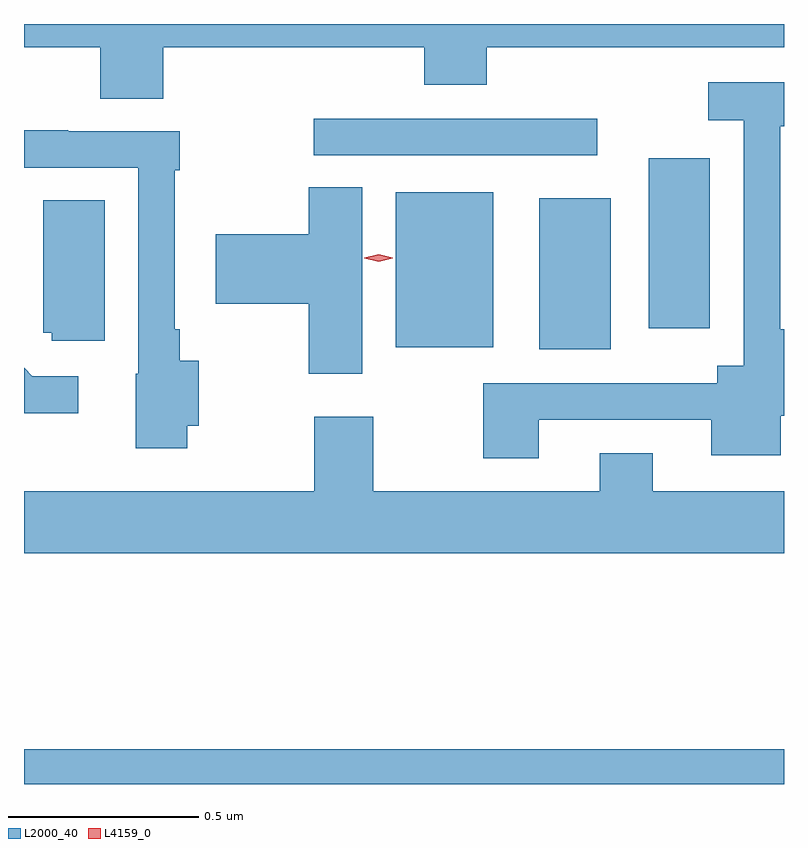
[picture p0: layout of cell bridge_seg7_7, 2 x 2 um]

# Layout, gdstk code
import gdstk
lib = gdstk.Library(unit=1e-6, precision=1e-09)
def R(c, l, rs):  # rectangles x0, y0, x1, y1
    for r in rs: c.add(gdstk.rectangle(r[:2], r[2:], *l))
def P(c, l, *ps):  # polygons
    for p in ps: c.add(gdstk.Polygon(p, *l))
L2000_40 = (2000, 40)
L4159_0 = (4159, 0)

bridge_seg7_7 = lib.new_cell('bridge_seg7_7')
R(bridge_seg7_7, L2000_40, [(1025.522,1075.933,1027.522,1076.024), (1026.878,1077.077,1027.066,1077.475), (1026.5,1077.083,1026.757,1077.49), (1027.166,1077.132,1027.327,1077.58), (1026.285,1077.588,1027.03,1077.684)])
P(bridge_seg7_7, L2000_40, [(1025.888,1077.872),(1026.575,1077.872),(1026.575,1077.773),(1026.74,1077.773),(1026.74,1077.872),(1027.522,1077.872),(1027.522,1077.933),(1025.522,1077.933),(1025.522,1077.872),(1025.723,1077.872),(1025.723,1077.736),(1025.888,1077.736)],
  [(1026.877,1076.892),(1027.331,1076.892),(1027.331,1076.798),(1027.513,1076.798),(1027.513,1076.902),(1027.522,1076.902),(1027.522,1077.13),(1027.512,1077.13),(1027.512,1077.664),(1027.522,1077.664),(1027.522,1077.78),(1027.323,1077.78),(1027.323,1077.68),(1027.416,1077.68),(1027.416,1077.034),(1027.346,1077.034),(1027.346,1076.988),(1026.73,1076.988),(1026.73,1076.79),(1026.877,1076.79)],
  [(1025.952,1076.876),(1025.982,1076.876),(1025.982,1077.047),(1025.932,1077.047),(1025.932,1077.13),(1025.919,1077.13),(1025.919,1077.548),(1025.932,1077.548),(1025.932,1077.651),(1025.639,1077.651),(1025.639,1077.654),(1025.522,1077.654),(1025.522,1077.555),(1025.823,1077.555),(1025.823,1077.012),(1025.816,1077.012),(1025.816,1076.816),(1025.952,1076.816)],
  [(1026.412,1077.503),(1026.271,1077.503),(1026.271,1077.38),(1026.027,1077.38),(1026.027,1077.197),(1026.271,1077.197),(1026.271,1077.012),(1026.412,1077.012)],
  [(1025.734,1077.469),(1025.573,1077.469),(1025.573,1077.12),(1025.595,1077.12),(1025.595,1077.099),(1025.734,1077.099)],
  [(1025.665,1077.006),(1025.544,1077.006),(1025.522,1077.028),(1025.522,1076.909),(1025.665,1076.909)],
  [(1027.522,1076.704),(1027.177,1076.704),(1027.177,1076.803),(1027.037,1076.803),(1027.037,1076.704),(1026.441,1076.704),(1026.441,1076.899),(1026.286,1076.899),(1026.286,1076.704),(1025.522,1076.704),(1025.522,1076.54),(1027.522,1076.54)])
P(bridge_seg7_7, L4159_0, [(1026.455,1077.307),(1026.418,1077.317),(1026.418,1077.317),(1026.418,1077.318),(1026.455,1077.327),(1026.492,1077.318),(1026.493,1077.317),(1026.492,1077.317)])

lib.write_gds('bridge_seg7_7.gds')
